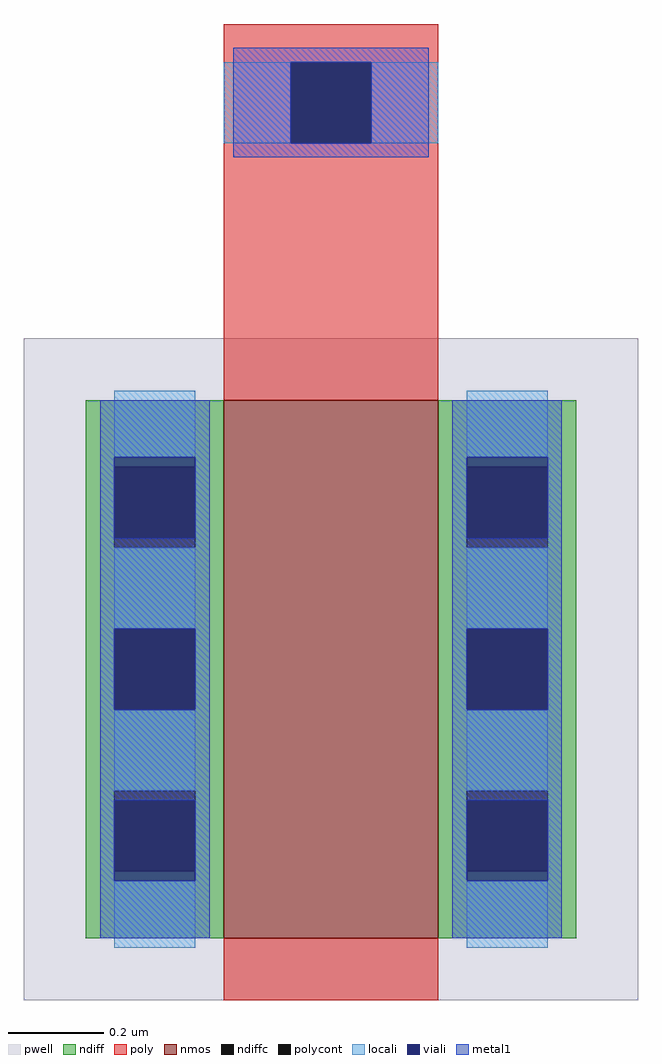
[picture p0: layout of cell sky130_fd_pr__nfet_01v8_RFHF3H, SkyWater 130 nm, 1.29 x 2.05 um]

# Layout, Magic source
magic
tech sky130A
magscale 1 2
<< pwell >>
rect -129 -170 129 108
<< nmos >>
rect -45 -144 45 82
<< ndiff >>
rect -103 54 -45 82
rect -103 20 -91 54
rect -57 20 -45 54
rect -103 -14 -45 20
rect -103 -48 -91 -14
rect -57 -48 -45 -14
rect -103 -82 -45 -48
rect -103 -116 -91 -82
rect -57 -116 -45 -82
rect -103 -144 -45 -116
rect 45 54 103 82
rect 45 20 57 54
rect 91 20 103 54
rect 45 -14 103 20
rect 45 -48 57 -14
rect 91 -48 103 -14
rect 45 -82 103 -48
rect 45 -116 57 -82
rect 91 -116 103 -82
rect 45 -144 103 -116
<< ndiffc >>
rect -91 20 -57 54
rect -91 -48 -57 -14
rect -91 -116 -57 -82
rect 57 20 91 54
rect 57 -48 91 -14
rect 57 -116 91 -82
<< poly >>
rect -45 224 45 240
rect -45 190 -17 224
rect 17 190 45 224
rect -45 82 45 190
rect -45 -170 45 -144
<< polycont >>
rect -17 190 17 224
<< locali >>
rect -45 190 -17 224
rect 17 190 45 224
rect -91 58 -57 86
rect -91 -14 -57 20
rect -91 -82 -57 -48
rect -91 -148 -57 -120
rect 57 58 91 86
rect 57 -14 91 20
rect 57 -82 91 -48
rect 57 -148 91 -120
<< viali >>
rect -17 190 17 224
rect -91 54 -57 58
rect -91 24 -57 54
rect -91 -48 -57 -14
rect -91 -116 -57 -86
rect -91 -120 -57 -116
rect 57 54 91 58
rect 57 24 91 54
rect 57 -48 91 -14
rect 57 -116 91 -86
rect 57 -120 91 -116
<< metal1 >>
rect -41 224 41 230
rect -41 190 -17 224
rect 17 190 41 224
rect -41 184 41 190
rect -97 58 -51 82
rect -97 24 -91 58
rect -57 24 -51 58
rect -97 -14 -51 24
rect -97 -48 -91 -14
rect -57 -48 -51 -14
rect -97 -86 -51 -48
rect -97 -120 -91 -86
rect -57 -120 -51 -86
rect -97 -144 -51 -120
rect 51 58 97 82
rect 51 24 57 58
rect 91 24 97 58
rect 51 -14 97 24
rect 51 -48 57 -14
rect 91 -48 97 -14
rect 51 -86 97 -48
rect 51 -120 57 -86
rect 91 -120 97 -86
rect 51 -144 97 -120
<< end >>
